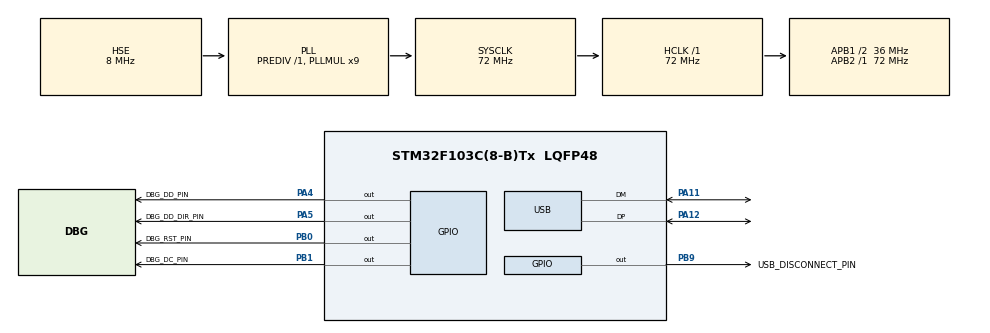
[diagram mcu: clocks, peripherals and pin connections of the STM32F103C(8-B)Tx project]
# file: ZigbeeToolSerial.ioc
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FREERTOS.Tasks01=defaultTask,0,128,StartDefaultTask,Default,NULL,Dynamic,NULL,NULL;DebugIoTask,-3,128,DebugIoTaskStart,Default,NULL,Dynamic,NULL,NULL
FREERTOS.configTICK_RATE_HZ=1000
FREERTOS.configTOTAL_HEAP_SIZE=6144
Mcu.Family=STM32F1
Mcu.Name=STM32F103C(8-B)Tx
Mcu.Package=LQFP48
NVIC.PriorityGroup=NVIC_PRIORITYGROUP_4
NVIC.USB_LP_CAN1_RX0_IRQn=true\:5\:0\:false\:false\:true\:true\:false
PA11.Mode=Device
PA11.Signal=USB_DM
PA12.Mode=Device
PA12.Signal=USB_DP
PA13.Mode=Trace_Asynchronous_SW
PA13.Signal=SYS_JTMS-SWDIO
PA14.Mode=Trace_Asynchronous_SW
PA14.Signal=SYS_JTCK-SWCLK
PA4.GPIO_Label=DBG_DD_PIN
PA4.GPIO_ModeDefaultOutputPP=GPIO_MODE_OUTPUT_PP
PA4.GPIO_Speed=GPIO_SPEED_FREQ_HIGH
PA4.Signal=GPIO_Output
PA5.GPIO_Label=DBG_DD_DIR_PIN
PA5.GPIO_Speed=GPIO_SPEED_FREQ_HIGH
PA5.Signal=GPIO_Output
PB0.GPIO_Label=DBG_RST_PIN
PB0.GPIO_ModeDefaultOutputPP=GPIO_MODE_OUTPUT_PP
PB0.GPIO_Speed=GPIO_SPEED_FREQ_HIGH
PB0.Signal=GPIO_Output
PB1.GPIO_Label=DBG_DC_PIN
PB1.GPIO_Speed=GPIO_SPEED_FREQ_HIGH
PB1.Signal=GPIO_Output
PB3.Mode=Trace_Asynchronous_SW
PB3.Signal=SYS_JTDO-TRACESWO
PB9.GPIO_Label=USB_DISCONNECT_PIN
PB9.PinState=GPIO_PIN_SET
PB9.Signal=GPIO_Output
PD0-OSC_IN.Mode=HSE-External-Oscillator
PD0-OSC_IN.Signal=RCC_OSC_IN
PD1-OSC_OUT.Mode=HSE-External-Oscillator
PD1-OSC_OUT.Signal=RCC_OSC_OUT
ProjectManager.HeapSize=0x400
ProjectManager.StackSize=0x800
ProjectManager.TargetToolchain=MDK-ARM V5
RCC.AHBFreq_Value=72000000
RCC.APB1CLKDivider=RCC_HCLK_DIV2
RCC.APB1Freq_Value=36000000
RCC.APB1TimFreq_Value=72000000
RCC.APB2Freq_Value=72000000
RCC.APB2TimFreq_Value=72000000
RCC.HCLKFreq_Value=72000000
RCC.PLLMUL=RCC_PLL_MUL9
RCC.SYSCLKFreq_VALUE=72000000
RCC.SYSCLKSource=RCC_SYSCLKSOURCE_PLLCLK
RCC.USBFreq_Value=48000000
RCC.USBPrescaler=RCC_USBCLKSOURCE_PLL_DIV1_5
USB.ep0_mps=DEP0CTL_MPS_8
USB_DEVICE.CLASS_NAME_FS=CDC
USB_DEVICE.MANUFACTURER_STRING=ZigbeeToolSerial
USB_DEVICE.PRODUCT_STRING_CDC_FS=Virtual ComPort
USB_DEVICE.USBD_DEBUG_LEVEL=3
USB_DEVICE.VID=0x7070
USB_DEVICE.VirtualMode=Cdc
USB_DEVICE.VirtualModeFS=Cdc_FS
VP_FREERTOS_VS_ENABLE.Mode=Enabled
VP_USB_DEVICE_VS_USB_DEVICE_CDC_FS.Mode=CDC_FS
board=ZigbeeToolSerial

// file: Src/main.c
/**
  ******************************************************************************
  * @file           : main.c
  * @brief          : Main program body
  ******************************************************************************
  * This notice applies to any and all portions of this file
  * that are not between comment pairs USER CODE BEGIN and
  * USER CODE END. Other portions of this file, whether
  * inserted by the user or by software development tools
  * are owned by their respective copyright owners.
  *
  * Copyright (c) 2020 STMicroelectronics International N.V.
  * All rights reserved.
  *
  * Redistribution and use in source and binary forms, with or without
  * modification, are permitted, provided that the following conditions are met:
  *
  * 1. Redistribution of source code must retain the above copyright notice,
  *    this list of conditions and the following disclaimer.
  * 2. Redistributions in binary form must reproduce the above copyright notice,
  *    this list of conditions and the following disclaimer in the documentation
  *    and/or other materials provided with the distribution.
  * 3. Neither the name of STMicroelectronics nor the names of other
  *    contributors to this software may be used to endorse or promote products
  *    derived from this software without specific written permission.
  * 4. This software, including modifications and/or derivative works of this
  *    software, must execute solely and exclusively on microcontroller or
  *    microprocessor devices manufactured by or for STMicroelectronics.
  * 5. Redistribution and use of this software other than as permitted under
  *    this license is void and will automatically terminate your rights under
  *    this license.
  *
  * THIS SOFTWARE IS PROVIDED BY STMICROELECTRONICS AND CONTRIBUTORS "AS IS"
  * AND ANY EXPRESS, IMPLIED OR STATUTORY WARRANTIES, INCLUDING, BUT NOT
  * LIMITED TO, THE IMPLIED WARRANTIES OF MERCHANTABILITY, FITNESS FOR A
  * PARTICULAR PURPOSE AND NON-INFRINGEMENT OF THIRD PARTY INTELLECTUAL PROPERTY
  * RIGHTS ARE DISCLAIMED TO THE FULLEST EXTENT PERMITTED BY LAW. IN NO EVENT
  * SHALL STMICROELECTRONICS OR CONTRIBUTORS BE LIABLE FOR ANY DIRECT, INDIRECT,
  * INCIDENTAL, SPECIAL, EXEMPLARY, OR CONSEQUENTIAL DAMAGES (INCLUDING, BUT NOT
  * LIMITED TO, PROCUREMENT OF SUBSTITUTE GOODS OR SERVICES; LOSS OF USE, DATA,
  * OR PROFITS; OR BUSINESS INTERRUPTION) HOWEVER CAUSED AND ON ANY THEORY OF
  * LIABILITY, WHETHER IN CONTRACT, STRICT LIABILITY, OR TORT (INCLUDING
  * NEGLIGENCE OR OTHERWISE) ARISING IN ANY WAY OUT OF THE USE OF THIS SOFTWARE,
  * EVEN IF ADVISED OF THE POSSIBILITY OF SUCH DAMAGE.
  *
  ******************************************************************************
  */
#include "main.h"
#include "stm32f1xx_hal.h"
#include "cmsis_os.h"
#include "usb_device.h"

/* USER CODE BEGIN Includes */
#include "usbd_cdc.h"
#include "ccddriver.h"
#include "loadflash.h"
/* USER CODE END Includes */

osThreadId defaultTaskHandle;
osThreadId DebugIoTaskHandle;

/* USER CODE BEGIN PV */
/* Private variables ---------------------------------------------------------*/
QueueHandle_t CdcRxMsg = NULL;
/* USER CODE END PV */

void SystemClock_Config(void);
static void MX_GPIO_Init(void);
void StartDefaultTask(void const * argument);
void DebugIoTaskStart(void const * argument);

/* USER CODE BEGIN PFP */
/* Private function prototypes -----------------------------------------------*/

/* USER CODE END PFP */

/* USER CODE BEGIN 0 */
#include <stdio.h>

#define ITM_Port8(n)    (*((volatile unsigned char *)(0xE0000000+4*n)))
#define ITM_Port16(n)   (*((volatile unsigned short*)(0xE0000000+4*n)))
#define ITM_Port32(n)   (*((volatile unsigned long *)(0xE0000000+4*n)))
#define DEMCR           (*((volatile unsigned long *)(0xE000EDFC)))
#define TRCENA          0x01000000

struct __FILE { int handle; /* Add whatever you need here */ };
    FILE __stdout;
    FILE __stdin;

int fputc(int ch, FILE *f)
{
    if (DEMCR & TRCENA)
    {
        while (ITM_Port32(0) == 0);
        ITM_Port8(0) = ch;
    }
    return(ch);
}
/* USER CODE END 0 */

int main(void)
{

  /* MCU Configuration----------------------------------------------------------*/

  /* Reset of all peripherals, Initializes the Flash interface and the Systick. */
  HAL_Init();

  /* Configure the system clock */
  SystemClock_Config();

  /* Initialize all configured peripherals */
  MX_GPIO_Init();

  /* Create the thread(s) */
  /* definition and creation of defaultTask */
  osThreadDef(defaultTask, StartDefaultTask, osPriorityNormal, 0, 128);
  defaultTaskHandle = osThreadCreate(osThread(defaultTask), NULL);

  /* definition and creation of DebugIoTask */
  osThreadDef(DebugIoTask, DebugIoTaskStart, osPriorityIdle, 0, 128);
  DebugIoTaskHandle = osThreadCreate(osThread(DebugIoTask), NULL);

  /* USER CODE BEGIN RTOS_QUEUES */
  /* add queues, ... */

	CdcRxMsg = xQueueCreate(10,sizeof(CdcRxMsg));
  /* USER CODE END RTOS_QUEUES */

  /* Start scheduler */
  osKernelStart();

  /* We should never get here as control is now taken by the scheduler */

  /* Infinite loop */
  while (1)
  {

  }

}

void SystemClock_Config(void)
{

  RCC_OscInitTypeDef RCC_OscInitStruct;
  RCC_ClkInitTypeDef RCC_ClkInitStruct;
  RCC_PeriphCLKInitTypeDef PeriphClkInit;

    /**Initializes the CPU, AHB and APB busses clocks
    */
  RCC_OscInitStruct.OscillatorType = RCC_OSCILLATORTYPE_HSE;
  RCC_OscInitStruct.HSEState = RCC_HSE_ON;
  RCC_OscInitStruct.HSEPredivValue = RCC_HSE_PREDIV_DIV1;
  RCC_OscInitStruct.HSIState = RCC_HSI_ON;
  RCC_OscInitStruct.PLL.PLLState = RCC_PLL_ON;
  RCC_OscInitStruct.PLL.PLLSource = RCC_PLLSOURCE_HSE;
  RCC_OscInitStruct.PLL.PLLMUL = RCC_PLL_MUL9;
  if (HAL_RCC_OscConfig(&RCC_OscInitStruct) != HAL_OK)
  {
    _Error_Handler(__FILE__, __LINE__);
  }

    /**Initializes the CPU, AHB and APB busses clocks
    */
  RCC_ClkInitStruct.ClockType = RCC_CLOCKTYPE_HCLK|RCC_CLOCKTYPE_SYSCLK
                              |RCC_CLOCKTYPE_PCLK1|RCC_CLOCKTYPE_PCLK2;
  RCC_ClkInitStruct.SYSCLKSource = RCC_SYSCLKSOURCE_PLLCLK;
  RCC_ClkInitStruct.AHBCLKDivider = RCC_SYSCLK_DIV1;
  RCC_ClkInitStruct.APB1CLKDivider = RCC_HCLK_DIV2;
  RCC_ClkInitStruct.APB2CLKDivider = RCC_HCLK_DIV1;

  if (HAL_RCC_ClockConfig(&RCC_ClkInitStruct, FLASH_LATENCY_2) != HAL_OK)
  {
    _Error_Handler(__FILE__, __LINE__);
  }

  PeriphClkInit.PeriphClockSelection = RCC_PERIPHCLK_USB;
  PeriphClkInit.UsbClockSelection = RCC_USBCLKSOURCE_PLL_DIV1_5;
  if (HAL_RCCEx_PeriphCLKConfig(&PeriphClkInit) != HAL_OK)
  {
    _Error_Handler(__FILE__, __LINE__);
  }

    /**Configure the Systick interrupt time
    */
  HAL_SYSTICK_Config(HAL_RCC_GetHCLKFreq()/1000);

    /**Configure the Systick
    */
  HAL_SYSTICK_CLKSourceConfig(SYSTICK_CLKSOURCE_HCLK);

  /* SysTick_IRQn interrupt configuration */
  HAL_NVIC_SetPriority(SysTick_IRQn, 15, 0);
}

/** Configure pins as
        * Analog
        * Input
        * Output
        * EVENT_OUT
        * EXTI
*/
static void MX_GPIO_Init(void)
{

  GPIO_InitTypeDef GPIO_InitStruct;

  /* GPIO Ports Clock Enable */
  __HAL_RCC_GPIOD_CLK_ENABLE();
  __HAL_RCC_GPIOA_CLK_ENABLE();
  __HAL_RCC_GPIOB_CLK_ENABLE();

  /*Configure GPIO pin Output Level */
  HAL_GPIO_WritePin(GPIOA, DBG_DD_PIN_Pin|DBG_DD_DIR_PIN_Pin, GPIO_PIN_RESET);

  /*Configure GPIO pin Output Level */
  HAL_GPIO_WritePin(GPIOB, DBG_RST_PIN_Pin|DBG_DC_PIN_Pin, GPIO_PIN_RESET);

  /*Configure GPIO pin Output Level */
  HAL_GPIO_WritePin(USB_DISCONNECT_PIN_GPIO_Port, USB_DISCONNECT_PIN_Pin, GPIO_PIN_SET);

  /*Configure GPIO pins : DBG_DD_PIN_Pin DBG_DD_DIR_PIN_Pin */
  GPIO_InitStruct.Pin = DBG_DD_PIN_Pin|DBG_DD_DIR_PIN_Pin;
  GPIO_InitStruct.Mode = GPIO_MODE_OUTPUT_PP;
  GPIO_InitStruct.Speed = GPIO_SPEED_FREQ_HIGH;
  HAL_GPIO_Init(GPIOA, &GPIO_InitStruct);

  /*Configure GPIO pins : DBG_RST_PIN_Pin DBG_DC_PIN_Pin */
  GPIO_InitStruct.Pin = DBG_RST_PIN_Pin|DBG_DC_PIN_Pin;
  GPIO_InitStruct.Mode = GPIO_MODE_OUTPUT_PP;
  GPIO_InitStruct.Speed = GPIO_SPEED_FREQ_HIGH;
  HAL_GPIO_Init(GPIOB, &GPIO_InitStruct);

  /*Configure GPIO pin : USB_DISCONNECT_PIN_Pin */
  GPIO_InitStruct.Pin = USB_DISCONNECT_PIN_Pin;
  GPIO_InitStruct.Mode = GPIO_MODE_OUTPUT_PP;
  GPIO_InitStruct.Speed = GPIO_SPEED_FREQ_LOW;
  HAL_GPIO_Init(USB_DISCONNECT_PIN_GPIO_Port, &GPIO_InitStruct);

}

/* USER CODE BEGIN 4 */

static unsigned char read_data[4];
uint8_t USBSendBuf[2200];
uint8_t BinReqRetryCnt = 0;

uint8_t USB_Send_Data(uint8_t* pData, uint16_t lenth)
{
     USBD_CDC_SetTxBuffer(&hUsbDeviceFS, (uint8_t*)pData, lenth);

     return USBD_CDC_TransmitPacket(&hUsbDeviceFS);
}

uint8_t USB_DataRequest(uint8_t cmd, uint8_t* pData, uint16_t lenth, uint8_t sequence)
{
	USBSendBuf[0] = 0xFE;
	USBSendBuf[1] = cmd;
	USBSendBuf[2] = lenth + 4;//1 byte CMD + 2byte Lenth
	USBSendBuf[3] = (lenth + 4)>>8;//1 byte CMD + 2byte Lenth
	USBSendBuf[4] = sequence;

	if(lenth)
	{
		memcpy(&USBSendBuf[5], pData,  lenth);
	}
	USBSendBuf[ lenth + 4 + 1 ] = ByteCheckSum(&USBSendBuf[1],lenth + 4 );

	return USB_Send_Data(USBSendBuf ,lenth + 6 );
}
/* USER CODE END 4 */

/* StartDefaultTask function */

void StartDefaultTask(void const * argument)
{
  /* init code for USB_DEVICE */
  MX_USB_DEVICE_Init();

  /* USER CODE BEGIN 5 */
	osDelay(50);
	DEBUG_INIT();
	osDelay(50);

	uint8_t *RxMsg;
  /* Infinite loop */
  for(;;)
  {
   				if( xQueueReceive( CdcRxMsg, &RxMsg , 100) == pdTRUE)
				{
					if( RxMsg != NULL)
					{
						//save current version info
						if(SUCCESS == ParseCmd( (pPROCESS_MSG)RxMsg))
						{

							BinReqRetryCnt =  0;
							break;
						}
						else
						{

						}

					}
				}
  }
  /* USER CODE END 5 */
}

/* DebugIoTaskStart function */
void DebugIoTaskStart(void const * argument)
{
  for(;;)
  {
    osDelay(1);
  }
}

void _Error_Handler(char *file, int line)
{
  while(1)
  {
  }
}

/************************ (C) COPYRIGHT STMicroelectronics *****END OF FILE****/
